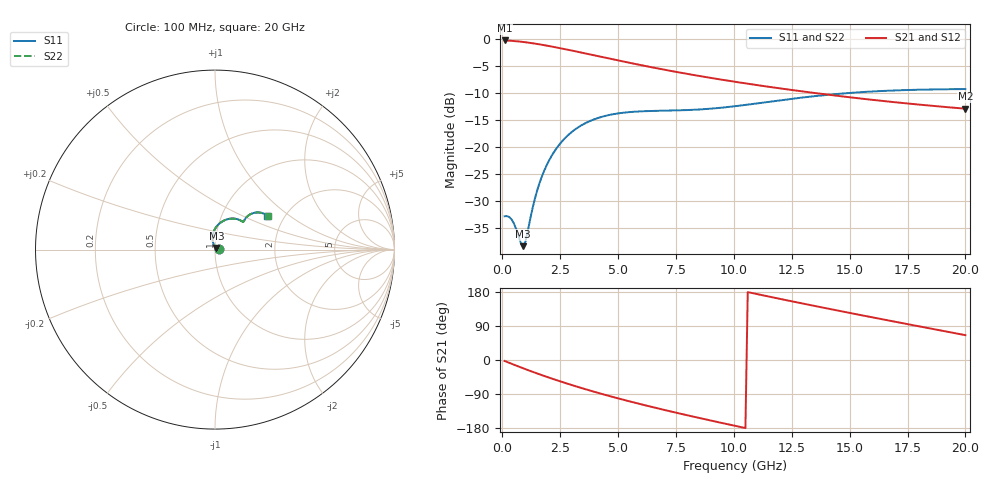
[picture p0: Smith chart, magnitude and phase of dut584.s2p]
! Touchstone file exported from HFSS 2024.1.0
!  File:  C:/UserFiles/LocalFiles/RDL_TSV_Batchsim/temp_RDL_TSV_584_1779757467.aedt
!  Generated:  09:21:24 AM May 26, 2026
!  Design:  RDL_TSV
!  Project:  temp_RDL_TSV_584_1779757467
!  Setup:  Setup1
!  Solution:  Sweep
! Variables:
!  dtsv = 12.07um
!  hbump = 3um
!  htsv = 94.64um
!  ldown = 584.6um
!  lrdl = 594.11um
!  p = 40
!  p1 = 43.09um
!  rhole = 10um
!  subl = 4130.24um
!  t = 450um
!  tdown = 3.46um
!  trdl = 3.66um
!  viad = 10um
!  wdown = 19.69um
!  wrdl = 16.6um
!  xbump = 18um
# GHz S MA R 50.000000
! Terminal data exported
! Port[1] = TM1_1_T1
! Port[2] = TM1_4_T1
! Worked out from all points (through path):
!   200 points, 100 MHz to 20 GHz, reference 50 ohm
!   highest |S21| = -0.21 dB at 100 MHz (marker M1); lowest = -12.8 dB at 20 GHz (marker M2)
!   group delay of S21, straight-line fit = 38.9 ps
!   lowest |S11| = -38.3 dB at 900 MHz (marker M3), VSWR 1.02, Z = 50.8 + j0.961 ohm
!   |S11| at or under -10 dB: start of sweep to 14.79 GHz
!   |S22| runs from -38.3 to -9.2 dB; largest |S21 - S12| = 8e-15
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0.1  0.023 2.6  0.9764 -2.5  0.9764 -2.5  0.023 2.6
! Gamma 0 0 0 0
! Port Impedance 50 0 50 0
0.4  0.02153 6.0  0.9685 -10.0  0.9685 -10.0  0.02153 6.0
0.6  0.01749 11.6  0.9607 -14.8  0.9607 -14.8  0.0175 11.6
0.8  0.01297 31.9  0.9511 -19.5  0.9511 -19.5  0.01299 31.7
0.9  0.01215 51.2  0.9457 -21.9  0.9457 -21.9  0.01215 51.0
1  0.01341 71.9  0.9399 -24.2  0.9399 -24.2  0.01339 71.7
1.3  0.02689 101.7  0.9206 -31.0  0.9206 -31.0  0.02683 101.6
1.5  0.03944 105.1  0.9064 -35.4  0.9064 -35.4  0.03936 105.1
1.7  0.05305 104.5  0.8915 -39.8  0.8915 -39.8  0.05295 104.5
2  0.07416 100.7  0.8682 -46.2  0.8682 -46.2  0.07404 100.7
2.7  0.1211 88.4  0.8117 -60.3  0.8117 -60.3  0.1209 88.4
3.5  0.1636 75.0  0.7476 -75.4  0.7476 -75.4  0.1634 75.0
4.3  0.1917 64.0  0.6869 -89.6  0.6869 -89.6  0.1916 64.0
5.1  0.2076 55.6  0.6315 -102.9  0.6315 -102.9  0.2074 55.6
6.8  0.218 46.1  0.5332 -128.9  0.5332 -128.9  0.2179 46.1
8.3  0.2228 44.5  0.4659 -150.2  0.4659 -150.2  0.2228 44.5
10.1  0.241 45.6  0.403 -174.4  0.403 -174.4  0.241 45.6
11.8  0.2689 45.5  0.3561 163.7  0.3561 163.7  0.2691 45.5
13.4  0.2963 43.5  0.3203 143.7  0.3203 143.7  0.2967 43.5
15  0.3188 40.5  0.2907 124.3  0.2907 124.3  0.3193 40.5
16.7  0.3347 37.2  0.265 104.0  0.265 104.0  0.3353 37.1
20  0.3464 32.6  0.2279 65.6  0.2279 65.6  0.3471 32.4
